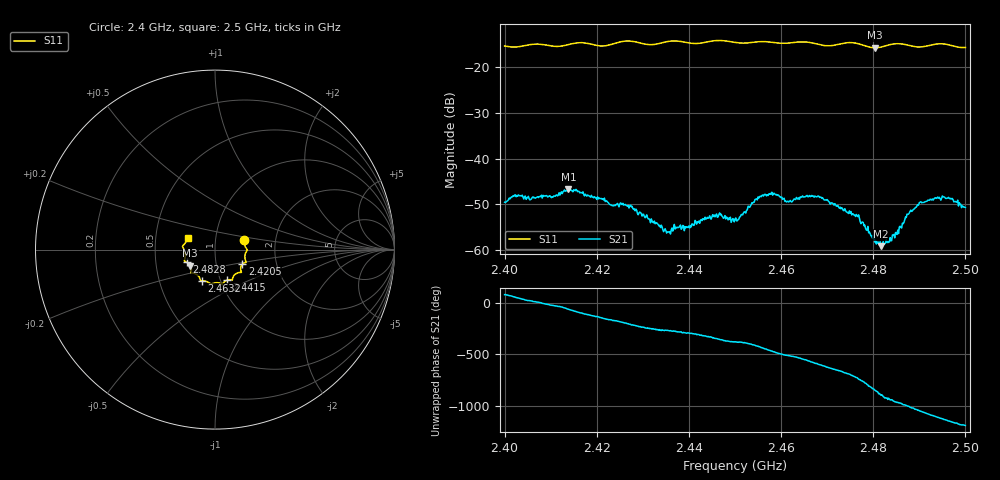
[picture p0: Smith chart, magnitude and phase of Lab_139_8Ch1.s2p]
# Hz S RI R 50
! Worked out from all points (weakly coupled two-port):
!   601 points, 2.4 GHz to 2.5 GHz, reference 50 ohm
!   highest |S21| = -46.64 dB at 2.4138 GHz (marker M1); lowest = -59.2 dB at 2.4817 GHz (marker M2)
!   lowest |S11| = -15.7 dB at 2.4803 GHz (marker M3), VSWR 1.39, Z = 37.4 - j6.83 ohm
!   |S11| at or under -10 dB: start of sweep to end of sweep
!   S12 and S22 are empty: the file has one direction only
!   S11 on the Smith chart (normalised r, x): 2.4 GHz: 1.38, +0.15; 2.4205 GHz: 1.34, -0.23; 2.4415 GHz: 1.07, -0.38; 2.4632 GHz: 0.82, -0.29; 2.4828 GHz: 0.72, -0.10; 2.5 GHz: 0.73, +0.10
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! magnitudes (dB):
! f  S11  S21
! 2.4 GHz  -15.3  -49.6
! 2.4022 GHz  -15.5  -48.0
! 2.4138 GHz  -15.0  -46.6
! 2.4167 GHz  -14.6  -47.5
! 2.4205 GHz  -15.3  -48.6
! 2.4273 GHz  -14.2  -50.2
! 2.4333 GHz  -14.8  -54.4
! 2.4355 GHz  -14.3  -56.1
! 2.4415 GHz  -14.8  -53.8
! 2.4465 GHz  -14.1  -52.3
! 2.45 GHz  -14.5  -53.3
! 2.456 GHz  -14.3  -48.0
! 2.4632 GHz  -14.5  -49.0
! 2.4667 GHz  -14.6  -48.1
! 2.4765 GHz  -14.7  -52.5
! 2.4803 GHz  -15.7  -58.3
! 2.4817 GHz  -15.6  -59.2
! 2.4828 GHz  -15.2  -57.8
! 2.4833 GHz  -15.1  -58.1
! 2.4905 GHz  -15.5  -49.7
! 2.4955 GHz  -14.9  -48.5
! 2.5 GHz  -15.6  -50.7
